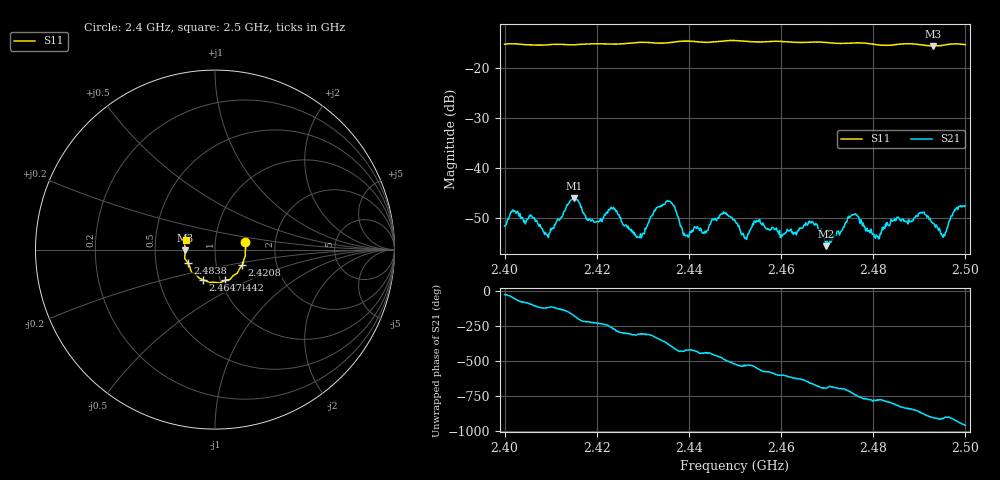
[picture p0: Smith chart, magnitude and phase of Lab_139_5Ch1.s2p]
# Hz S RI R 50
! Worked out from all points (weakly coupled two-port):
!   601 points, 2.4 GHz to 2.5 GHz, reference 50 ohm
!   highest |S21| = -45.96 dB at 2.4152 GHz (marker M1); lowest = -55.6 dB at 2.4698 GHz (marker M2)
!   lowest |S11| = -15.6 dB at 2.493 GHz (marker M3), VSWR 1.40, Z = 35.8 - j0.228 ohm
!   |S11| at or under -10 dB: start of sweep to end of sweep
!   S12 and S22 are empty: the file has one direction only
!   S11 on the Smith chart (normalised r, x): 2.4 GHz: 1.40, +0.12; 2.4208 GHz: 1.33, -0.24; 2.4442 GHz: 1.05, -0.37; 2.4647 GHz: 0.83, -0.29; 2.4838 GHz: 0.73, -0.11; 2.5 GHz: 0.72, +0.08
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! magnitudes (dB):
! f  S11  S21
! 2.4 GHz  -15.2  -51.6
! 2.4093 GHz  -15.4  -53.4
! 2.4152 GHz  -15.4  -46.0
! 2.4167 GHz  -15.3  -47.7
! 2.4208 GHz  -15.2  -50.0
! 2.4235 GHz  -15.2  -48.1
! 2.4292 GHz  -14.9  -53.8
! 2.4333 GHz  -15.0  -47.7
! 2.4363 GHz  -14.9  -47.0
! 2.4393 GHz  -14.6  -53.5
! 2.4442 GHz  -14.9  -52.4
! 2.45 GHz  -14.5  -50.4
! 2.4647 GHz  -14.9  -51.9
! 2.4667 GHz  -14.8  -50.6
! 2.4698 GHz  -14.9  -55.6
! 2.4757 GHz  -15.0  -49.3
! 2.4808 GHz  -15.4  -53.5
! 2.4833 GHz  -15.5  -51.4
! 2.4838 GHz  -15.4  -50.3
! 2.493 GHz  -15.6  -51.1
! 2.4953 GHz  -15.4  -53.2
! 2.5 GHz  -15.3  -47.5
